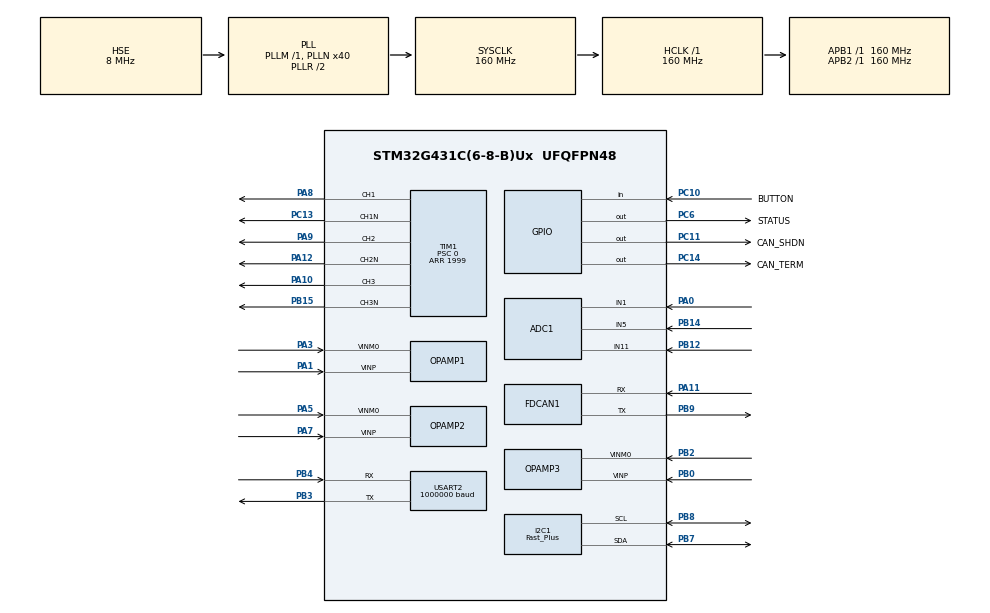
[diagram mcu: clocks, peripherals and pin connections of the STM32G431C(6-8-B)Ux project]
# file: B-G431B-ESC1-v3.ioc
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ADC1.Channel-0\#ChannelRegularConversion=ADC_CHANNEL_VOPAMP1
ADC1.Channel-1\#ChannelRegularConversion=ADC_CHANNEL_VOPAMP1
ADC1.Channel-2\#ChannelRegularConversion=ADC_CHANNEL_11
ADC1.Channel-3\#ChannelRegularConversion=ADC_CHANNEL_1
ADC1.Channel-4\#ChannelRegularConversion=ADC_CHANNEL_5
ADC1.DMAContinuousRequests=ENABLE
ADC1.EOCSelection=ADC_EOC_SEQ_CONV
ADC1.ExternalTrigConv=ADC_EXTERNALTRIG_T1_TRGO
ADC1.NbrOfConversion=5
ADC1.NbrOfConversionFlag=1
ADC1.OffsetNumber-0\#ChannelRegularConversion=ADC_OFFSET_NONE
ADC1.OffsetNumber-1\#ChannelRegularConversion=ADC_OFFSET_NONE
ADC1.OffsetNumber-2\#ChannelRegularConversion=ADC_OFFSET_NONE
ADC1.OffsetNumber-3\#ChannelRegularConversion=ADC_OFFSET_NONE
ADC1.OffsetNumber-4\#ChannelRegularConversion=ADC_OFFSET_NONE
ADC1.Overrun=ADC_OVR_DATA_OVERWRITTEN
ADC1.Rank-0\#ChannelRegularConversion=1
ADC1.Rank-1\#ChannelRegularConversion=2
ADC1.Rank-2\#ChannelRegularConversion=3
ADC1.Rank-3\#ChannelRegularConversion=4
ADC1.Rank-4\#ChannelRegularConversion=5
ADC1.SamplingTime-0\#ChannelRegularConversion=ADC_SAMPLETIME_2CYCLES_5
ADC1.SamplingTime-1\#ChannelRegularConversion=ADC_SAMPLETIME_2CYCLES_5
ADC1.SamplingTime-2\#ChannelRegularConversion=ADC_SAMPLETIME_2CYCLES_5
ADC1.SamplingTime-3\#ChannelRegularConversion=ADC_SAMPLETIME_2CYCLES_5
ADC1.SamplingTime-4\#ChannelRegularConversion=ADC_SAMPLETIME_2CYCLES_5
ADC1.master=1
ADC2.Channel-0\#ChannelRegularConversion=ADC_CHANNEL_VOPAMP2
ADC2.Channel-1\#ChannelRegularConversion=ADC_CHANNEL_VOPAMP2
ADC2.Channel-2\#ChannelRegularConversion=ADC_CHANNEL_VOPAMP3_ADC2
ADC2.DMAContinuousRequests=ENABLE
ADC2.EOCSelection=ADC_EOC_SEQ_CONV
ADC2.ExternalTrigConv=ADC_EXTERNALTRIG_T1_TRGO
ADC2.NbrOfConversion=3
ADC2.NbrOfConversionFlag=1
ADC2.OffsetNumber-0\#ChannelRegularConversion=ADC_OFFSET_NONE
ADC2.OffsetNumber-1\#ChannelRegularConversion=ADC_OFFSET_NONE
ADC2.OffsetNumber-2\#ChannelRegularConversion=ADC_OFFSET_NONE
ADC2.Overrun=ADC_OVR_DATA_OVERWRITTEN
ADC2.Rank-0\#ChannelRegularConversion=1
ADC2.Rank-1\#ChannelRegularConversion=2
ADC2.Rank-2\#ChannelRegularConversion=3
ADC2.SamplingTime-0\#ChannelRegularConversion=ADC_SAMPLETIME_2CYCLES_5
ADC2.SamplingTime-1\#ChannelRegularConversion=ADC_SAMPLETIME_2CYCLES_5
ADC2.SamplingTime-2\#ChannelRegularConversion=ADC_SAMPLETIME_2CYCLES_5
Dma.ADC1.2.Direction=DMA_PERIPH_TO_MEMORY
Dma.ADC1.2.EventEnable=DISABLE
Dma.ADC1.2.Instance=DMA1_Channel3
Dma.ADC1.2.MemDataAlignment=DMA_MDATAALIGN_HALFWORD
Dma.ADC1.2.MemInc=DMA_MINC_ENABLE
Dma.ADC1.2.Mode=DMA_CIRCULAR
Dma.ADC1.2.PeriphDataAlignment=DMA_PDATAALIGN_HALFWORD
Dma.ADC1.2.PeriphInc=DMA_PINC_DISABLE
Dma.ADC1.2.Polarity=HAL_DMAMUX_REQ_GEN_RISING
Dma.ADC1.2.Priority=DMA_PRIORITY_LOW
Dma.ADC1.2.RequestNumber=1
Dma.ADC1.2.SignalID=NONE
Dma.ADC1.2.SyncEnable=DISABLE
Dma.ADC1.2.SyncPolarity=HAL_DMAMUX_SYNC_NO_EVENT
Dma.ADC1.2.SyncRequestNumber=1
Dma.ADC1.2.SyncSignalID=NONE
Dma.ADC2.3.Direction=DMA_PERIPH_TO_MEMORY
Dma.ADC2.3.EventEnable=DISABLE
Dma.ADC2.3.Instance=DMA1_Channel4
Dma.ADC2.3.MemDataAlignment=DMA_MDATAALIGN_HALFWORD
Dma.ADC2.3.MemInc=DMA_MINC_ENABLE
Dma.ADC2.3.Mode=DMA_CIRCULAR
Dma.ADC2.3.PeriphDataAlignment=DMA_PDATAALIGN_HALFWORD
Dma.ADC2.3.PeriphInc=DMA_PINC_DISABLE
Dma.ADC2.3.Polarity=HAL_DMAMUX_REQ_GEN_RISING
Dma.ADC2.3.Priority=DMA_PRIORITY_LOW
Dma.ADC2.3.RequestNumber=1
Dma.ADC2.3.SignalID=NONE
Dma.ADC2.3.SyncEnable=DISABLE
Dma.ADC2.3.SyncPolarity=HAL_DMAMUX_SYNC_NO_EVENT
Dma.ADC2.3.SyncRequestNumber=1
Dma.ADC2.3.SyncSignalID=NONE
Dma.Request0=USART2_RX
Dma.Request1=USART2_TX
Dma.Request2=ADC1
Dma.Request3=ADC2
Dma.USART2_RX.0.Direction=DMA_PERIPH_TO_MEMORY
Dma.USART2_RX.0.EventEnable=DISABLE
Dma.USART2_RX.0.Instance=DMA1_Channel1
Dma.USART2_RX.0.MemDataAlignment=DMA_MDATAALIGN_BYTE
Dma.USART2_RX.0.MemInc=DMA_MINC_ENABLE
Dma.USART2_RX.0.Mode=DMA_CIRCULAR
Dma.USART2_RX.0.PeriphDataAlignment=DMA_PDATAALIGN_BYTE
Dma.USART2_RX.0.PeriphInc=DMA_PINC_DISABLE
Dma.USART2_RX.0.Polarity=HAL_DMAMUX_REQ_GEN_RISING
Dma.USART2_RX.0.Priority=DMA_PRIORITY_LOW
Dma.USART2_RX.0.RequestNumber=1
Dma.USART2_RX.0.SignalID=NONE
Dma.USART2_RX.0.SyncEnable=DISABLE
Dma.USART2_RX.0.SyncPolarity=HAL_DMAMUX_SYNC_NO_EVENT
Dma.USART2_RX.0.SyncRequestNumber=1
Dma.USART2_RX.0.SyncSignalID=NONE
Dma.USART2_TX.1.Direction=DMA_MEMORY_TO_PERIPH
Dma.USART2_TX.1.EventEnable=DISABLE
Dma.USART2_TX.1.Instance=DMA1_Channel2
Dma.USART2_TX.1.MemDataAlignment=DMA_MDATAALIGN_BYTE
Dma.USART2_TX.1.MemInc=DMA_MINC_ENABLE
Dma.USART2_TX.1.Mode=DMA_NORMAL
Dma.USART2_TX.1.PeriphDataAlignment=DMA_PDATAALIGN_BYTE
Dma.USART2_TX.1.PeriphInc=DMA_PINC_DISABLE
Dma.USART2_TX.1.Polarity=HAL_DMAMUX_REQ_GEN_RISING
Dma.USART2_TX.1.Priority=DMA_PRIORITY_LOW
Dma.USART2_TX.1.RequestNumber=1
Dma.USART2_TX.1.SignalID=NONE
Dma.USART2_TX.1.SyncEnable=DISABLE
Dma.USART2_TX.1.SyncPolarity=HAL_DMAMUX_SYNC_NO_EVENT
Dma.USART2_TX.1.SyncRequestNumber=1
Dma.USART2_TX.1.SyncSignalID=NONE
FDCAN1.AutoRetransmission=ENABLE
FDCAN1.CalculateBaudRateNominal=1000000
FDCAN1.CalculateTimeQuantumNominal=12.5
FDCAN1.ClockDivider=FDCAN_CLOCK_DIV2
FDCAN1.DataSyncJumpWidth=4
FDCAN1.DataTimeSeg1=5
FDCAN1.DataTimeSeg2=4
FDCAN1.NominalPrescaler=1
FDCAN1.NominalSyncJumpWidth=16
FDCAN1.NominalTimeSeg1=63
FDCAN1.NominalTimeSeg2=16
FDCAN1.StdFiltersNbr=1
FDCAN1.TransmitPause=ENABLE
I2C1.I2C_Speed_Mode=I2C_Fast_Plus
I2C1.Timing=0x00701F6B
Mcu.Family=STM32G4
Mcu.Name=STM32G431C(6-8-B)Ux
Mcu.Package=UFQFPN48
NVIC.ADC1_2_IRQn=true\:0\:0\:false\:false\:true\:true\:true\:true
NVIC.CORDIC_IRQn=true\:2\:0\:true\:false\:true\:true\:true\:true
NVIC.DMA1_Channel1_IRQn=true\:0\:0\:false\:false\:true\:false\:true\:true
NVIC.DMA1_Channel2_IRQn=true\:0\:0\:false\:false\:true\:false\:true\:true
NVIC.DMA1_Channel3_IRQn=true\:0\:0\:false\:false\:true\:false\:true\:true
NVIC.DMA1_Channel4_IRQn=true\:0\:0\:false\:false\:true\:false\:true\:true
NVIC.FDCAN1_IT0_IRQn=true\:3\:0\:true\:false\:true\:true\:true\:true
NVIC.PriorityGroup=NVIC_PRIORITYGROUP_4
NVIC.USART2_IRQn=true\:4\:0\:true\:false\:true\:true\:true\:true
OPAMP1.PgaGain=OPAMP_PGA_GAIN_16_OR_MINUS_15
OPAMP2.PgaGain=OPAMP_PGA_GAIN_16_OR_MINUS_15
OPAMP3.PgaGain=OPAMP_PGA_GAIN_16_OR_MINUS_15
PA0.Mode=IN1-Single-Ended
PA0.Signal=ADC1_IN1
PA1.Mode=PGA Internally connected_IO0_BIAS
PA1.Signal=OPAMP1_VINP
PA10.Signal=S_TIM1_CH3
PA11.Mode=FDCAN_Activate
PA11.Signal=FDCAN1_RX
PA12.Mode=PWM Generation2 CH2 CH2N
PA12.Signal=TIM1_CH2N
PA13.Mode=Serial_Wire
PA13.Signal=SYS_JTMS-SWDIO
PA14.Mode=Serial_Wire
PA14.Signal=SYS_JTCK-SWCLK
PA3.Mode=PGA Internally connected_IO0_BIAS
PA3.Signal=OPAMP1_VINM0
PA5.Mode=PGA Internally connected_IO0_BIAS
PA5.Signal=OPAMP2_VINM0
PA7.Mode=PGA Internally connected_IO0_BIAS
PA7.Signal=OPAMP2_VINP
PA8.Signal=S_TIM1_CH1
PA9.Signal=S_TIM1_CH2
PB0.Mode=PGA Internally connected_IO0_BIAS
PB0.Signal=OPAMP3_VINP
PB12.Mode=IN11-Single-Ended
PB12.Signal=ADC1_IN11
PB14.Mode=IN5-Single-Ended
PB14.Signal=ADC1_IN5
PB15.Mode=PWM Generation3 CH3 CH3N
PB15.Signal=TIM1_CH3N
PB2.Mode=PGA Internally connected_IO0_BIAS
PB2.Signal=OPAMP3_VINM0
PB3.Mode=Asynchronous
PB3.Signal=USART2_TX
PB4.Mode=Asynchronous
PB4.Signal=USART2_RX
PB7.GPIO_FM7=SYSCFG_FASTMODEPLUS_PB7
PB7.GPIO_Pu=GPIO_PULLUP
PB7.GPIO_Speed=GPIO_SPEED_FREQ_VERY_HIGH
PB7.Mode=I2C
PB7.Signal=I2C1_SDA
PB8-BOOT0.GPIO_FM8=SYSCFG_FASTMODEPLUS_PB8
PB8-BOOT0.GPIO_Pu=GPIO_PULLUP
PB8-BOOT0.GPIO_Speed=GPIO_SPEED_FREQ_VERY_HIGH
PB8-BOOT0.Mode=I2C
PB8-BOOT0.Signal=I2C1_SCL
PB9.Mode=FDCAN_Activate
PB9.Signal=FDCAN1_TX
PC10.GPIO_Label=BUTTON
PC10.Signal=GPIO_Input
PC11.GPIO_Label=CAN_SHDN
PC11.Signal=GPIO_Output
PC13.Mode=PWM Generation1 CH1 CH1N
PC13.Signal=TIM1_CH1N
PC14-OSC32_IN.GPIO_Label=CAN_TERM
PC14-OSC32_IN.Signal=GPIO_Output
PC6.GPIO_Label=STATUS
PC6.Signal=GPIO_Output
PF0-OSC_IN.Mode=HSE-External-Oscillator
PF0-OSC_IN.Signal=RCC_OSC_IN
PF1-OSC_OUT.Mode=HSE-External-Oscillator
PF1-OSC_OUT.Signal=RCC_OSC_OUT
ProjectManager.HeapSize=0x200
ProjectManager.StackSize=0x400
ProjectManager.TargetToolchain=Makefile
RCC.ADC12Freq_Value=160000000
RCC.AHBFreq_Value=160000000
RCC.APB1Freq_Value=160000000
RCC.APB1TimFreq_Value=160000000
RCC.APB2Freq_Value=160000000
RCC.APB2TimFreq_Value=160000000
RCC.CortexFreq_Value=160000000
RCC.EXTERNAL_CLOCK_VALUE=12288000
RCC.HCLKFreq_Value=160000000
RCC.HSE_VALUE=8000000
RCC.HSI48_VALUE=48000000
RCC.HSI_VALUE=16000000
RCC.LSE_VALUE=32768
RCC.PLLN=40
RCC.PLLSourceVirtual=RCC_PLLSOURCE_HSE
RCC.SYSCLKFreq_VALUE=160000000
RCC.SYSCLKSource=RCC_SYSCLKSOURCE_PLLCLK
RCC.USBFreq_Value=160000000
RCC.VCOOutputFreq_Value=320000000
SH.S_TIM1_CH1.0=TIM1_CH1,PWM Generation1 CH1 CH1N
SH.S_TIM1_CH2.0=TIM1_CH2,PWM Generation2 CH2 CH2N
SH.S_TIM1_CH3.0=TIM1_CH3,PWM Generation3 CH3 CH3N
TIM1.Channel-PWM\ Generation1\ CH1\ CH1N=TIM_CHANNEL_1
TIM1.Channel-PWM\ Generation2\ CH2\ CH2N=TIM_CHANNEL_2
TIM1.Channel-PWM\ Generation3\ CH3\ CH3N=TIM_CHANNEL_3
TIM1.CounterMode=TIM_COUNTERMODE_CENTERALIGNED1
TIM1.DeadTime=128
TIM1.OffStateIDLEMode=TIM_OSSI_ENABLE
TIM1.PeriodNoDither=1999
TIM1.Prescaler=0
TIM1.TIM_MasterOutputTrigger=TIM_TRGO_UPDATE
TIM6.Prescaler=159
USART2.BaudRate=1000000
USART2.VirtualMode-Asynchronous=VM_ASYNC
VP_ADC1_OPAMP_INTERNAL1.Mode=IN-OPAMP1
VP_ADC2_OPAMP_INTERNAL2.Mode=IN-OPAMP2
VP_ADC2_OPAMP_INTERNAL3.Mode=IN-OPAMP3
VP_CORDIC_VS_CORDIC.Mode=CORDIC_Activate
VP_SYS_VS_DBSignals.Mode=DisableDeadBatterySignals
VP_TIM1_VS_ClockSourceINT.Mode=Internal
VP_TIM6_VS_ClockSourceINT.Mode=Enable_Timer
board=custom

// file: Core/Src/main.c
/* USER CODE BEGIN Header */
/**
  ******************************************************************************
  * @file           : main.c
  * @brief          : Main program body
  ******************************************************************************
  * @attention
  *
  * <h2><center>&copy; Copyright (c) 2022 STMicroelectronics.
  * All rights reserved.</center></h2>
  *
  * This software component is licensed by ST under BSD 3-Clause license,
  * the "License"; You may not use this file except in compliance with the
  * License. You may obtain a copy of the License at:
  *                        opensource.org/licenses/BSD-3-Clause
  *
  ******************************************************************************
  */
/* USER CODE END Header */
#include "main.h"
#include "emergency_stop.h"

/* USER CODE BEGIN Includes */
#include "serial.h"
#include "position_sensor.h"
#include "foc.h"
#include "app.h"
#include "configuration.h"
#include "control_table.h"
#include "can_servo.h"
#include "drive.h"
#include "drive_mode.h"

/* USER CODE END Includes */

/* USER CODE BEGIN PD */

// CAN Bus termination
#define CAN_BUS_TERMINATION_ENABLED 1

// AS5600 over I2C is the only encoder supported by this variant.

/* USER CODE END PD */

ADC_HandleTypeDef hadc1;
ADC_HandleTypeDef hadc2;
DMA_HandleTypeDef hdma_adc1;
DMA_HandleTypeDef hdma_adc2;

CORDIC_HandleTypeDef hcordic;

FDCAN_HandleTypeDef hfdcan1;

I2C_HandleTypeDef hi2c1;

OPAMP_HandleTypeDef hopamp1;
OPAMP_HandleTypeDef hopamp2;
OPAMP_HandleTypeDef hopamp3;

TIM_HandleTypeDef htim1;
TIM_HandleTypeDef htim6;

UART_HandleTypeDef huart2;
DMA_HandleTypeDef hdma_usart2_rx;
DMA_HandleTypeDef hdma_usart2_tx;

/* USER CODE BEGIN PV */

//extern float potentiometer_input_adc;

// serial communication
HAL_Serial_Handler serial;

/* USER CODE END PV */

void SystemClock_Config(void);
static void MX_GPIO_Init(void);
static void MX_DMA_Init(void);
static void MX_USART2_UART_Init(void);
static void MX_TIM1_Init(void);
static void MX_ADC1_Init(void);
static void MX_ADC2_Init(void);
static void MX_OPAMP1_Init(void);
static void MX_OPAMP2_Init(void);
static void MX_OPAMP3_Init(void);
static void MX_CORDIC_Init(void);
static void MX_TIM6_Init(void);
static void MX_FDCAN1_Init(void);
static void MX_I2C1_Init(void);

/* USER CODE BEGIN 0 */

// CAN configuration (filters)
static void FDCAN_Config(void)
{
  FDCAN_FilterTypeDef sFilterConfig;

  /* Configure Rx filter */
  sFilterConfig.IdType = FDCAN_STANDARD_ID;
  sFilterConfig.FilterIndex = 0;
  sFilterConfig.FilterType = FDCAN_FILTER_RANGE;
  sFilterConfig.FilterConfig = FDCAN_FILTER_TO_RXFIFO0;
  sFilterConfig.FilterID1 = 0x000;
  sFilterConfig.FilterID2 = 0x100;
  if (HAL_FDCAN_ConfigFilter(&hfdcan1, &sFilterConfig) != HAL_OK)
  {
    Error_Handler();
  }

  /* Configure global filter:
     Reject all remote frames with STD and EXT ID
     Reject non matching frames with STD ID and EXT ID */
  if (HAL_FDCAN_ConfigGlobalFilter(&hfdcan1, FDCAN_REJECT, FDCAN_REJECT, FDCAN_REJECT_REMOTE, FDCAN_REJECT_REMOTE) != HAL_OK)
  {
    Error_Handler();
  }

  HAL_GPIO_WritePin(CAN_SHDN_GPIO_Port, CAN_SHDN_Pin, GPIO_PIN_RESET);
#if CAN_BUS_TERMINATION_ENABLED
  HAL_GPIO_WritePin(CAN_TERM_GPIO_Port, CAN_TERM_Pin, GPIO_PIN_SET); // SET means activating R120 for CAN bus termination
#else
  HAL_GPIO_WritePin(CAN_TERM_GPIO_Port, CAN_TERM_Pin, GPIO_PIN_RESET); // RESET means no bus termination
#endif

  /* Start the FDCAN module */
  if (HAL_FDCAN_Start(&hfdcan1) != HAL_OK)
  {
    Error_Handler();
  }

  if (HAL_FDCAN_ActivateNotification(&hfdcan1, FDCAN_IT_RX_FIFO0_NEW_MESSAGE, 0) != HAL_OK)
  {
    Error_Handler();
  }

}

// CAN IT on message receive
void HAL_FDCAN_RxFifo0Callback(FDCAN_HandleTypeDef *hfdcan, uint32_t RxFifo0ITs)
{
  CanServo_OnRxFifo0(hfdcan, RxFifo0ITs);
}

/* USER CODE END 0 */

int main(void)
{

  /* MCU Configuration--------------------------------------------------------*/

  /* Reset of all peripherals, Initializes the Flash interface and the Systick. */
  HAL_Init();

  /* Configure the system clock */
  SystemClock_Config();

  /* Initialize all configured peripherals */
  MX_GPIO_Init();
  MX_DMA_Init();
  MX_USART2_UART_Init();
  MX_TIM1_Init();
  MX_ADC1_Init();
  MX_ADC2_Init();
  MX_OPAMP1_Init();
  MX_OPAMP2_Init();
  MX_OPAMP3_Init();
  MX_CORDIC_Init();
  MX_TIM6_Init();
  if (!DRIVE_STANDALONE) MX_FDCAN1_Init();
  MX_I2C1_Init();
  /* USER CODE BEGIN 2 */
	if (HAL_TIM_Base_Start(&htim6) != HAL_OK) Error_Handler(); // 1us base time

  if (!Config_Load()) Error_Handler();
  control_reset_runtime();
  Drive_Init();
  if (!Config_IsValid()) hardware_fault_set(DRIVE_FAULT_CONFIGURATION);
  HAL_Serial_Init(&huart2,&serial);
  if (!positionSensor_init())
  {
    regs[REG_TORQUE_ENABLE] = 0;
  }
  positionSensor_update();
  // ADC callbacks read configuration and encoder state, even while IDLE.
  API_FOC_Init();
  API_FOC_Service_Update();
  // Accept commands only after every motor-control dependency is initialized.
  if (!DRIVE_STANDALONE) {
    CanServo_Init(&hfdcan1);
    FDCAN_Config();
  }
  App_Init(&htim6, &serial);
//HAL_Serial_Print(&serial,"RESET!\n");

  /* USER CODE END 2 */

  /* Infinite loop */
  while (1)
  {

    /* USER CODE BEGIN 3 */
    App_Process();
  }
  /* USER CODE END 3 */
}

void SystemClock_Config(void)
{
  RCC_OscInitTypeDef RCC_OscInitStruct = {0};
  RCC_ClkInitTypeDef RCC_ClkInitStruct = {0};

  /** Configure the main internal regulator output voltage
  */
  HAL_PWREx_ControlVoltageScaling(PWR_REGULATOR_VOLTAGE_SCALE1_BOOST);

  /** Initializes the RCC Oscillators according to the specified parameters
  * in the RCC_OscInitTypeDef structure.
  */
  RCC_OscInitStruct.OscillatorType = RCC_OSCILLATORTYPE_HSE;
  RCC_OscInitStruct.HSEState = RCC_HSE_ON;
  RCC_OscInitStruct.PLL.PLLState = RCC_PLL_ON;
  RCC_OscInitStruct.PLL.PLLSource = RCC_PLLSOURCE_HSE;
  RCC_OscInitStruct.PLL.PLLM = RCC_PLLM_DIV1;
  RCC_OscInitStruct.PLL.PLLN = 40;
  RCC_OscInitStruct.PLL.PLLP = RCC_PLLP_DIV2;
  RCC_OscInitStruct.PLL.PLLQ = RCC_PLLQ_DIV2;
  RCC_OscInitStruct.PLL.PLLR = RCC_PLLR_DIV2;
  if (HAL_RCC_OscConfig(&RCC_OscInitStruct) != HAL_OK)
  {
    Error_Handler();
  }

  /** Initializes the CPU, AHB and APB buses clocks
  */
  RCC_ClkInitStruct.ClockType = RCC_CLOCKTYPE_HCLK|RCC_CLOCKTYPE_SYSCLK
                              |RCC_CLOCKTYPE_PCLK1|RCC_CLOCKTYPE_PCLK2;
  RCC_ClkInitStruct.SYSCLKSource = RCC_SYSCLKSOURCE_PLLCLK;
  RCC_ClkInitStruct.AHBCLKDivider = RCC_SYSCLK_DIV1;
  RCC_ClkInitStruct.APB1CLKDivider = RCC_HCLK_DIV1;
  RCC_ClkInitStruct.APB2CLKDivider = RCC_HCLK_DIV1;

  if (HAL_RCC_ClockConfig(&RCC_ClkInitStruct, FLASH_LATENCY_4) != HAL_OK)
  {
    Error_Handler();
  }
}

static void MX_ADC1_Init(void)
{

  ADC_MultiModeTypeDef multimode = {0};
  ADC_ChannelConfTypeDef sConfig = {0};

  /** Common config
  */
  hadc1.Instance = ADC1;
  hadc1.Init.ClockPrescaler = ADC_CLOCK_SYNC_PCLK_DIV4;
  hadc1.Init.Resolution = ADC_RESOLUTION_12B;
  hadc1.Init.DataAlign = ADC_DATAALIGN_RIGHT;
  hadc1.Init.GainCompensation = 0;
  hadc1.Init.ScanConvMode = ADC_SCAN_ENABLE;
  hadc1.Init.EOCSelection = ADC_EOC_SEQ_CONV;
  hadc1.Init.LowPowerAutoWait = DISABLE;
  hadc1.Init.ContinuousConvMode = DISABLE;
  hadc1.Init.NbrOfConversion = 5;
  hadc1.Init.DiscontinuousConvMode = DISABLE;
  hadc1.Init.ExternalTrigConv = ADC_EXTERNALTRIG_T1_TRGO;
  hadc1.Init.ExternalTrigConvEdge = ADC_EXTERNALTRIGCONVEDGE_RISING;
  hadc1.Init.DMAContinuousRequests = ENABLE;
  hadc1.Init.Overrun = ADC_OVR_DATA_OVERWRITTEN;
  hadc1.Init.OversamplingMode = DISABLE;
  if (HAL_ADC_Init(&hadc1) != HAL_OK)
  {
    Error_Handler();
  }

  /** Configure the ADC multi-mode
  */
  multimode.Mode = ADC_MODE_INDEPENDENT;
  if (HAL_ADCEx_MultiModeConfigChannel(&hadc1, &multimode) != HAL_OK)
  {
    Error_Handler();
  }

  /** Configure Regular Channel
  */
  sConfig.Channel = ADC_CHANNEL_VOPAMP1;
  sConfig.Rank = ADC_REGULAR_RANK_1;
  sConfig.SamplingTime = ADC_SAMPLETIME_2CYCLES_5;
  sConfig.SingleDiff = ADC_SINGLE_ENDED;
  sConfig.OffsetNumber = ADC_OFFSET_NONE;
  sConfig.Offset = 0;
  if (HAL_ADC_ConfigChannel(&hadc1, &sConfig) != HAL_OK)
  {
    Error_Handler();
  }

  /** Configure Regular Channel
  */
  sConfig.Rank = ADC_REGULAR_RANK_2;
  if (HAL_ADC_ConfigChannel(&hadc1, &sConfig) != HAL_OK)
  {
    Error_Handler();
  }

  /** Configure Regular Channel
  */
  sConfig.Channel = ADC_CHANNEL_11;
  sConfig.Rank = ADC_REGULAR_RANK_3;
  if (HAL_ADC_ConfigChannel(&hadc1, &sConfig) != HAL_OK)
  {
    Error_Handler();
  }

  /** Configure Regular Channel
  */
  sConfig.Channel = ADC_CHANNEL_1;
  sConfig.Rank = ADC_REGULAR_RANK_4;
  if (HAL_ADC_ConfigChannel(&hadc1, &sConfig) != HAL_OK)
  {
    Error_Handler();
  }

  /** Configure Regular Channel
  */
  sConfig.Channel = ADC_CHANNEL_5;
  sConfig.Rank = ADC_REGULAR_RANK_5;
  if (HAL_ADC_ConfigChannel(&hadc1, &sConfig) != HAL_OK)
  {
    Error_Handler();
  }

}

static void MX_ADC2_Init(void)
{

  ADC_ChannelConfTypeDef sConfig = {0};

  /** Common config
  */
  hadc2.Instance = ADC2;
  hadc2.Init.ClockPrescaler = ADC_CLOCK_SYNC_PCLK_DIV4;
  hadc2.Init.Resolution = ADC_RESOLUTION_12B;
  hadc2.Init.DataAlign = ADC_DATAALIGN_RIGHT;
  hadc2.Init.GainCompensation = 0;
  hadc2.Init.ScanConvMode = ADC_SCAN_ENABLE;
  hadc2.Init.EOCSelection = ADC_EOC_SEQ_CONV;
  hadc2.Init.LowPowerAutoWait = DISABLE;
  hadc2.Init.ContinuousConvMode = DISABLE;
  hadc2.Init.NbrOfConversion = 3;
  hadc2.Init.DiscontinuousConvMode = DISABLE;
  hadc2.Init.ExternalTrigConv = ADC_EXTERNALTRIG_T1_TRGO;
  hadc2.Init.ExternalTrigConvEdge = ADC_EXTERNALTRIGCONVEDGE_RISING;
  hadc2.Init.DMAContinuousRequests = ENABLE;
  hadc2.Init.Overrun = ADC_OVR_DATA_OVERWRITTEN;
  hadc2.Init.OversamplingMode = DISABLE;
  if (HAL_ADC_Init(&hadc2) != HAL_OK)
  {
    Error_Handler();
  }

  /** Configure Regular Channel
  */
  sConfig.Channel = ADC_CHANNEL_VOPAMP2;
  sConfig.Rank = ADC_REGULAR_RANK_1;
  sConfig.SamplingTime = ADC_SAMPLETIME_2CYCLES_5;
  sConfig.SingleDiff = ADC_SINGLE_ENDED;
  sConfig.OffsetNumber = ADC_OFFSET_NONE;
  sConfig.Offset = 0;
  if (HAL_ADC_ConfigChannel(&hadc2, &sConfig) != HAL_OK)
  {
    Error_Handler();
  }

  /** Configure Regular Channel
  */
  sConfig.Rank = ADC_REGULAR_RANK_2;
  if (HAL_ADC_ConfigChannel(&hadc2, &sConfig) != HAL_OK)
  {
    Error_Handler();
  }

  /** Configure Regular Channel
  */
  sConfig.Channel = ADC_CHANNEL_VOPAMP3_ADC2;
  sConfig.Rank = ADC_REGULAR_RANK_3;
  if (HAL_ADC_ConfigChannel(&hadc2, &sConfig) != HAL_OK)
  {
    Error_Handler();
  }

}

static void MX_CORDIC_Init(void)
{

  hcordic.Instance = CORDIC;
  if (HAL_CORDIC_Init(&hcordic) != HAL_OK)
  {
    Error_Handler();
  }

}

static void MX_FDCAN1_Init(void)
{

  hfdcan1.Instance = FDCAN1;
  hfdcan1.Init.ClockDivider = FDCAN_CLOCK_DIV2;
  hfdcan1.Init.FrameFormat = FDCAN_FRAME_CLASSIC;
  hfdcan1.Init.Mode = FDCAN_MODE_NORMAL;
  hfdcan1.Init.AutoRetransmission = ENABLE;
  hfdcan1.Init.TransmitPause = ENABLE;
  hfdcan1.Init.ProtocolException = DISABLE;
  hfdcan1.Init.NominalPrescaler = 1;
  hfdcan1.Init.NominalSyncJumpWidth = 16;
  hfdcan1.Init.NominalTimeSeg1 = 63;
  hfdcan1.Init.NominalTimeSeg2 = 16;
  hfdcan1.Init.DataPrescaler = 1;
  hfdcan1.Init.DataSyncJumpWidth = 4;
  hfdcan1.Init.DataTimeSeg1 = 5;
  hfdcan1.Init.DataTimeSeg2 = 4;
  hfdcan1.Init.StdFiltersNbr = 1;
  hfdcan1.Init.ExtFiltersNbr = 0;
  hfdcan1.Init.TxFifoQueueMode = FDCAN_TX_FIFO_OPERATION;
  if (HAL_FDCAN_Init(&hfdcan1) != HAL_OK)
  {
    Error_Handler();
  }

}

static void MX_I2C1_Init(void)
{

  hi2c1.Instance = I2C1;
  hi2c1.Init.Timing = 0x00701F6B;
  hi2c1.Init.OwnAddress1 = 0;
  hi2c1.Init.AddressingMode = I2C_ADDRESSINGMODE_7BIT;
  hi2c1.Init.DualAddressMode = I2C_DUALADDRESS_DISABLE;
  hi2c1.Init.OwnAddress2 = 0;
  hi2c1.Init.OwnAddress2Masks = I2C_OA2_NOMASK;
  hi2c1.Init.GeneralCallMode = I2C_GENERALCALL_DISABLE;
  hi2c1.Init.NoStretchMode = I2C_NOSTRETCH_DISABLE;
  if (HAL_I2C_Init(&hi2c1) != HAL_OK)
  {
    Error_Handler();
  }

  /** Configure Analogue filter
  */
  if (HAL_I2CEx_ConfigAnalogFilter(&hi2c1, I2C_ANALOGFILTER_ENABLE) != HAL_OK)
  {
    Error_Handler();
  }

  /** Configure Digital filter
  */
  if (HAL_I2CEx_ConfigDigitalFilter(&hi2c1, 0) != HAL_OK)
  {
    Error_Handler();
  }

  /** I2C Fast mode Plus enable
  */
  __HAL_SYSCFG_FASTMODEPLUS_ENABLE(I2C_FASTMODEPLUS_I2C1);

}

static void MX_OPAMP1_Init(void)
{

  hopamp1.Instance = OPAMP1;
  hopamp1.Init.PowerMode = OPAMP_POWERMODE_NORMALSPEED;
  hopamp1.Init.Mode = OPAMP_PGA_MODE;
  hopamp1.Init.NonInvertingInput = OPAMP_NONINVERTINGINPUT_IO0;
  hopamp1.Init.InternalOutput = ENABLE;
  hopamp1.Init.TimerControlledMuxmode = OPAMP_TIMERCONTROLLEDMUXMODE_DISABLE;
  hopamp1.Init.PgaConnect = OPAMP_PGA_CONNECT_INVERTINGINPUT_IO0_BIAS;
  hopamp1.Init.PgaGain = OPAMP_PGA_GAIN_16_OR_MINUS_15;
  hopamp1.Init.UserTrimming = OPAMP_TRIMMING_FACTORY;
  if (HAL_OPAMP_Init(&hopamp1) != HAL_OK)
  {
    Error_Handler();
  }

}

static void MX_OPAMP2_Init(void)
{

  hopamp2.Instance = OPAMP2;
  hopamp2.Init.PowerMode = OPAMP_POWERMODE_NORMALSPEED;
  hopamp2.Init.Mode = OPAMP_PGA_MODE;
  hopamp2.Init.NonInvertingInput = OPAMP_NONINVERTINGINPUT_IO0;
  hopamp2.Init.InternalOutput = ENABLE;
  hopamp2.Init.TimerControlledMuxmode = OPAMP_TIMERCONTROLLEDMUXMODE_DISABLE;
  hopamp2.Init.PgaConnect = OPAMP_PGA_CONNECT_INVERTINGINPUT_IO0_BIAS;
  hopamp2.Init.PgaGain = OPAMP_PGA_GAIN_16_OR_MINUS_15;
  hopamp2.Init.UserTrimming = OPAMP_TRIMMING_FACTORY;
  if (HAL_OPAMP_Init(&hopamp2) != HAL_OK)
  {
    Error_Handler();
  }

}

static void MX_OPAMP3_Init(void)
{

  hopamp3.Instance = OPAMP3;
  hopamp3.Init.PowerMode = OPAMP_POWERMODE_NORMALSPEED;
  hopamp3.Init.Mode = OPAMP_PGA_MODE;
  hopamp3.Init.NonInvertingInput = OPAMP_NONINVERTINGINPUT_IO0;
  hopamp3.Init.InternalOutput = ENABLE;
  hopamp3.Init.TimerControlledMuxmode = OPAMP_TIMERCONTROLLEDMUXMODE_DISABLE;
  hopamp3.Init.PgaConnect = OPAMP_PGA_CONNECT_INVERTINGINPUT_IO0_BIAS;
  hopamp3.Init.PgaGain = OPAMP_PGA_GAIN_16_OR_MINUS_15;
  hopamp3.Init.UserTrimming = OPAMP_TRIMMING_FACTORY;
  if (HAL_OPAMP_Init(&hopamp3) != HAL_OK)
  {
    Error_Handler();
  }

}

static void MX_TIM1_Init(void)
{

  TIM_ClockConfigTypeDef sClockSourceConfig = {0};
  TIM_MasterConfigTypeDef sMasterConfig = {0};
  TIM_OC_InitTypeDef sConfigOC = {0};
  TIM_BreakDeadTimeConfigTypeDef sBreakDeadTimeConfig = {0};

  htim1.Instance = TIM1;
  htim1.Init.Prescaler = 0;
  htim1.Init.CounterMode = TIM_COUNTERMODE_CENTERALIGNED1;
  htim1.Init.Period = 1999;
  htim1.Init.ClockDivision = TIM_CLOCKDIVISION_DIV1;
  htim1.Init.RepetitionCounter = 0;
  htim1.Init.AutoReloadPreload = TIM_AUTORELOAD_PRELOAD_DISABLE;
  if (HAL_TIM_Base_Init(&htim1) != HAL_OK)
  {
    Error_Handler();
  }
  sClockSourceConfig.ClockSource = TIM_CLOCKSOURCE_INTERNAL;
  if (HAL_TIM_ConfigClockSource(&htim1, &sClockSourceConfig) != HAL_OK)
  {
    Error_Handler();
  }
  if (HAL_TIM_PWM_Init(&htim1) != HAL_OK)
  {
    Error_Handler();
  }
  sMasterConfig.MasterOutputTrigger = TIM_TRGO_UPDATE;
  sMasterConfig.MasterOutputTrigger2 = TIM_TRGO2_RESET;
  sMasterConfig.MasterSlaveMode = TIM_MASTERSLAVEMODE_DISABLE;
  if (HAL_TIMEx_MasterConfigSynchronization(&htim1, &sMasterConfig) != HAL_OK)
  {
    Error_Handler();
  }
  sConfigOC.OCMode = TIM_OCMODE_PWM1;
  sConfigOC.Pulse = 0;
  sConfigOC.OCPolarity = TIM_OCPOLARITY_HIGH;
  sConfigOC.OCNPolarity = TIM_OCNPOLARITY_HIGH;
  sConfigOC.OCFastMode = TIM_OCFAST_DISABLE;
  sConfigOC.OCIdleState = TIM_OCIDLESTATE_RESET;
  sConfigOC.OCNIdleState = TIM_OCNIDLESTATE_RESET;
  if (HAL_TIM_PWM_ConfigChannel(&htim1, &sConfigOC, TIM_CHANNEL_1) != HAL_OK)
  {
    Error_Handler();
  }
  if (HAL_TIM_PWM_ConfigChannel(&htim1, &sConfigOC, TIM_CHANNEL_2) != HAL_OK)
  {
    Error_Handler();
  }
  if (HAL_TIM_PWM_ConfigChannel(&htim1, &sConfigOC, TIM_CHANNEL_3) != HAL_OK)
  {
    Error_Handler();
  }
  sBreakDeadTimeConfig.OffStateRunMode = TIM_OSSR_DISABLE;
  sBreakDeadTimeConfig.OffStateIDLEMode = TIM_OSSI_ENABLE;
  sBreakDeadTimeConfig.LockLevel = TIM_LOCKLEVEL_OFF;
  sBreakDeadTimeConfig.DeadTime = 128;
  sBreakDeadTimeConfig.BreakState = TIM_BREAK_DISABLE;
  sBreakDeadTimeConfig.BreakPolarity = TIM_BREAKPOLARITY_HIGH;
  sBreakDeadTimeConfig.BreakFilter = 0;
  sBreakDeadTimeConfig.BreakAFMode = TIM_BREAK_AFMODE_INPUT;
  sBreakDeadTimeConfig.Break2State = TIM_BREAK2_DISABLE;
  sBreakDeadTimeConfig.Break2Polarity = TIM_BREAK2POLARITY_HIGH;
  sBreakDeadTimeConfig.Break2Filter = 0;
  sBreakDeadTimeConfig.Break2AFMode = TIM_BREAK_AFMODE_INPUT;
  sBreakDeadTimeConfig.AutomaticOutput = TIM_AUTOMATICOUTPUT_DISABLE;
  if (HAL_TIMEx_ConfigBreakDeadTime(&htim1, &sBreakDeadTimeConfig) != HAL_OK)
  {
    Error_Handler();
  }
  HAL_TIM_MspPostInit(&htim1);

}

static void MX_TIM6_Init(void)
{

  TIM_MasterConfigTypeDef sMasterConfig = {0};

  htim6.Instance = TIM6;
  htim6.Init.Prescaler = 159;
  htim6.Init.CounterMode = TIM_COUNTERMODE_UP;
  htim6.Init.Period = 65535;
  htim6.Init.AutoReloadPreload = TIM_AUTORELOAD_PRELOAD_DISABLE;
  if (HAL_TIM_Base_Init(&htim6) != HAL_OK)
  {
    Error_Handler();
  }
  sMasterConfig.MasterOutputTrigger = TIM_TRGO_RESET;
  sMasterConfig.MasterSlaveMode = TIM_MASTERSLAVEMODE_DISABLE;
  if (HAL_TIMEx_MasterConfigSynchronization(&htim6, &sMasterConfig) != HAL_OK)
  {
    Error_Handler();
  }

}

static void MX_USART2_UART_Init(void)
{

  huart2.Instance = USART2;
  huart2.Init.BaudRate = 1000000;
  huart2.Init.WordLength = UART_WORDLENGTH_8B;
  huart2.Init.StopBits = UART_STOPBITS_1;
  huart2.Init.Parity = UART_PARITY_NONE;
  huart2.Init.Mode = UART_MODE_TX_RX;
  huart2.Init.HwFlowCtl = UART_HWCONTROL_NONE;
  huart2.Init.OverSampling = UART_OVERSAMPLING_16;
  huart2.Init.OneBitSampling = UART_ONE_BIT_SAMPLE_DISABLE;
  huart2.Init.ClockPrescaler = UART_PRESCALER_DIV1;
  huart2.AdvancedInit.AdvFeatureInit = UART_ADVFEATURE_NO_INIT;
  if (HAL_UART_Init(&huart2) != HAL_OK)
  {
    Error_Handler();
  }
  if (HAL_UARTEx_SetTxFifoThreshold(&huart2, UART_TXFIFO_THRESHOLD_1_8) != HAL_OK)
  {
    Error_Handler();
  }
  if (HAL_UARTEx_SetRxFifoThreshold(&huart2, UART_RXFIFO_THRESHOLD_1_8) != HAL_OK)
  {
    Error_Handler();
  }
  if (HAL_UARTEx_DisableFifoMode(&huart2) != HAL_OK)
  {
    Error_Handler();
  }

}

static void MX_DMA_Init(void)
{

  /* DMA controller clock enable */
  __HAL_RCC_DMAMUX1_CLK_ENABLE();
  __HAL_RCC_DMA1_CLK_ENABLE();

  /* DMA interrupt init */
  /* DMA1_Channel1_IRQn interrupt configuration */
  HAL_NVIC_SetPriority(DMA1_Channel1_IRQn, 0, 0);
  HAL_NVIC_EnableIRQ(DMA1_Channel1_IRQn);
  /* DMA1_Channel2_IRQn interrupt configuration */
  HAL_NVIC_SetPriority(DMA1_Channel2_IRQn, 0, 0);
  HAL_NVIC_EnableIRQ(DMA1_Channel2_IRQn);
  /* DMA1_Channel3_IRQn interrupt configuration */
  HAL_NVIC_SetPriority(DMA1_Channel3_IRQn, 0, 0);
  HAL_NVIC_EnableIRQ(DMA1_Channel3_IRQn);
  /* DMA1_Channel4_IRQn interrupt configuration */
  HAL_NVIC_SetPriority(DMA1_Channel4_IRQn, 0, 0);
  HAL_NVIC_EnableIRQ(DMA1_Channel4_IRQn);

}

static void MX_GPIO_Init(void)
{
  GPIO_InitTypeDef GPIO_InitStruct = {0};

  /* GPIO Ports Clock Enable */
  __HAL_RCC_GPIOC_CLK_ENABLE();
  __HAL_RCC_GPIOF_CLK_ENABLE();
  __HAL_RCC_GPIOA_CLK_ENABLE();
  __HAL_RCC_GPIOB_CLK_ENABLE();

  /*Configure GPIO pin Output Level */
  HAL_GPIO_WritePin(GPIOC, CAN_TERM_Pin|STATUS_Pin|CAN_SHDN_Pin, GPIO_PIN_RESET);

  /*Configure GPIO pins : CAN_TERM_Pin STATUS_Pin CAN_SHDN_Pin */
  GPIO_InitStruct.Pin = CAN_TERM_Pin|STATUS_Pin|CAN_SHDN_Pin;
  GPIO_InitStruct.Mode = GPIO_MODE_OUTPUT_PP;
  GPIO_InitStruct.Pull = GPIO_NOPULL;
  GPIO_InitStruct.Speed = GPIO_SPEED_FREQ_LOW;
  HAL_GPIO_Init(GPIOC, &GPIO_InitStruct);

  /*Configure GPIO pin : BUTTON_Pin */
  GPIO_InitStruct.Pin = BUTTON_Pin;
  GPIO_InitStruct.Mode = GPIO_MODE_INPUT;
  GPIO_InitStruct.Pull = GPIO_NOPULL;
  HAL_GPIO_Init(BUTTON_GPIO_Port, &GPIO_InitStruct);

/* USER CODE BEGIN MX_GPIO_Init_2 */
#if DRIVE_STANDALONE
  // No external servo-command device is used in this mode.
  HAL_GPIO_WritePin(CAN_SHDN_GPIO_Port, CAN_SHDN_Pin, GPIO_PIN_SET);
#endif
/* USER CODE END MX_GPIO_Init_2 */
}

void Error_Handler(void)
{
  /* USER CODE BEGIN Error_Handler_Debug */
  /* User can add his own implementation to report the HAL error return state */
  Servo_Emergency_Stop();
  while (1)
  {
  }
  /* USER CODE END Error_Handler_Debug */
}
